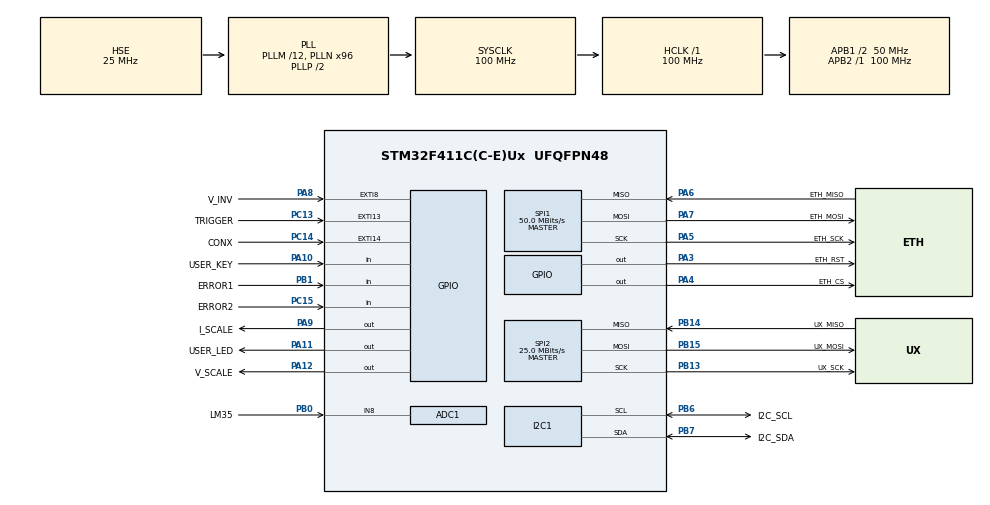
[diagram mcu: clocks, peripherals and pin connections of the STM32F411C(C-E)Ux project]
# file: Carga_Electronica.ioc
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ADC1.Channel-0\#ChannelRegularConversion=ADC_CHANNEL_8
ADC1.ContinuousConvMode=ENABLE
ADC1.NbrOfConversion=1
ADC1.NbrOfConversionFlag=1
ADC1.Rank-0\#ChannelRegularConversion=1
ADC1.SamplingTime-0\#ChannelRegularConversion=ADC_SAMPLETIME_3CYCLES
ADC1.master=1
FREERTOS.Tasks01=defaultTask,-1,128,StartDefaultTask,Default,NULL,Dynamic,NULL,NULL;tarea_cargacont,0,128,tarea_carga_control,Default,NULL,Dynamic,NULL,NULL;tarea_lectura,1,128,lectura_datos,Default,NULL,Dynamic,NULL,NULL
I2C1.I2C_Mode=I2C_Standard
Mcu.Family=STM32F4
Mcu.Name=STM32F411C(C-E)Ux
Mcu.Package=UFQFPN48
NVIC.PriorityGroup=NVIC_PRIORITYGROUP_4
PA10.GPIO_Label=USER_KEY
PA10.Signal=GPIO_Input
PA11.GPIO_Label=USER_LED
PA11.Signal=GPIO_Output
PA12.GPIO_Label=V_SCALE
PA12.Signal=GPIO_Output
PA13.Mode=Serial_Wire
PA13.Signal=SYS_JTMS-SWDIO
PA14.Mode=Serial_Wire
PA14.Signal=SYS_JTCK-SWCLK
PA3.GPIO_Label=ETH_RST
PA3.Signal=GPIO_Output
PA4.GPIO_Label=ETH_CS
PA4.Signal=GPIO_Output
PA5.GPIO_Label=ETH_SCK
PA5.Mode=Full_Duplex_Master
PA5.Signal=SPI1_SCK
PA6.GPIO_Label=ETH_MISO
PA6.Mode=Full_Duplex_Master
PA6.Signal=SPI1_MISO
PA7.GPIO_Label=ETH_MOSI
PA7.Mode=Full_Duplex_Master
PA7.Signal=SPI1_MOSI
PA8.GPIO_Label=V_INV
PA8.Signal=GPXTI8
PA9.GPIO_Label=I_SCALE
PA9.Signal=GPIO_Output
PB0.GPIO_Label=LM35
PB0.Signal=ADCx_IN8
PB1.GPIO_Label=ERROR1
PB1.Signal=GPIO_Input
PB13.GPIO_Label=UX_SCK
PB13.Mode=Full_Duplex_Master
PB13.Signal=SPI2_SCK
PB14.GPIO_Label=UX_MISO
PB14.Mode=Full_Duplex_Master
PB14.Signal=SPI2_MISO
PB15.GPIO_Label=UX_MOSI
PB15.Mode=Full_Duplex_Master
PB15.Signal=SPI2_MOSI
PB6.GPIO_Label=I2C_SCL
PB6.GPIO_Mode=GPIO_MODE_AF_OD
PB6.GPIO_Pu=GPIO_PULLUP
PB6.Mode=I2C
PB6.Signal=I2C1_SCL
PB7.GPIO_Label=I2C_SDA
PB7.GPIO_Mode=GPIO_MODE_AF_OD
PB7.GPIO_Pu=GPIO_PULLUP
PB7.Mode=I2C
PB7.Signal=I2C1_SDA
PC13-ANTI_TAMP.GPIO_Label=TRIGGER
PC13-ANTI_TAMP.Signal=GPXTI13
PC14-OSC32_IN.GPIO_Label=CONX
PC14-OSC32_IN.Signal=GPXTI14
PC15-OSC32_OUT.GPIO_Label=ERROR2
PC15-OSC32_OUT.Signal=GPIO_Input
PH0\ -\ OSC_IN.Mode=HSE-External-Oscillator
PH0\ -\ OSC_IN.Signal=RCC_OSC_IN
PH1\ -\ OSC_OUT.Mode=HSE-External-Oscillator
PH1\ -\ OSC_OUT.Signal=RCC_OSC_OUT
ProjectManager.HeapSize=0x200
ProjectManager.StackSize=0x400
ProjectManager.TargetToolchain=STM32CubeIDE
RCC.48MHZClocksFreq_Value=50000000
RCC.AHBFreq_Value=100000000
RCC.APB1CLKDivider=RCC_HCLK_DIV2
RCC.APB1Freq_Value=50000000
RCC.APB1TimFreq_Value=100000000
RCC.APB2Freq_Value=100000000
RCC.APB2TimFreq_Value=100000000
RCC.CortexFreq_Value=100000000
RCC.HCLKFreq_Value=100000000
RCC.HSE_VALUE=25000000
RCC.HSI_VALUE=16000000
RCC.LSE_VALUE=32768
RCC.PLLM=12
RCC.PLLN=96
RCC.PLLSourceVirtual=RCC_PLLSOURCE_HSE
RCC.SYSCLKFreq_VALUE=100000000
RCC.SYSCLKSource=RCC_SYSCLKSOURCE_PLLCLK
RCC.VCOOutputFreq_Value=200000000
SH.ADCx_IN8.0=ADC1_IN8,IN8
SPI1.BaudRatePrescaler=SPI_BAUDRATEPRESCALER_2
SPI1.CalculateBaudRate=50.0 MBits/s
SPI1.Direction=SPI_DIRECTION_2LINES
SPI1.Mode=SPI_MODE_MASTER
SPI1.VirtualType=VM_MASTER
SPI2.BaudRatePrescaler=SPI_BAUDRATEPRESCALER_2
SPI2.CalculateBaudRate=25.0 MBits/s
SPI2.Direction=SPI_DIRECTION_2LINES
SPI2.Mode=SPI_MODE_MASTER
SPI2.VirtualType=VM_MASTER
VP_FREERTOS_VS_CMSIS_V1.Mode=CMSIS_V1
board=custom

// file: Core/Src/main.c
/* USER CODE BEGIN Header */
/**
  ******************************************************************************
  * @file           : main.c
  * @brief          : Main program body
  ******************************************************************************
  * @attention
  *
  * Copyright (c) 2023 STMicroelectronics.
  * All rights reserved.
  *
  * This software is licensed under terms that can be found in the LICENSE file
  * in the root directory of this software component.
  * If no LICENSE file comes with this software, it is provided AS-IS.
  *
  ******************************************************************************
  */
/* USER CODE END Header */
#include "main.h"
#include "cmsis_os.h"

/* USER CODE BEGIN Includes */
#include "string.h"
#include "adc_function.h"
/* USER CODE END Includes */

/* USER CODE BEGIN PTD */
enum modos {off, corriente_constante, tension_constante, potencia_constante, fusible_electronico};

/* Estructura estado modo de la carga electronica */
//valor para corriente_constante en mA
typedef struct {

	enum modos modo; 				/* Modo de trabajo de la carga electronica */
	float valor;					/* Set point trabajo de la carga electronica */
	float tension;					/* Valor de lectura tension */
	uint8_t escala_tension;		/* 0 Escala 16V / 1 Escala 160V */
	float corriente;				/* Valor de lectura corriente */

} CARGA_HandleTypeDef;

/* USER CODE END PTD */

/* USER CODE BEGIN PD */

//Definiciones DAC - MCP4725
#define MCP4725_ADDR 	0b1100000 << 1
#define MASK_DAC_READ 	0b00001111

//CALIBRACIONES
#define CAL_DAC_VALUE 0
/* USER CODE END PD */

ADC_HandleTypeDef hadc1;

I2C_HandleTypeDef hi2c1;

SPI_HandleTypeDef hspi1;
SPI_HandleTypeDef hspi2;

osThreadId defaultTaskHandle;
osThreadId tarea_cargacontHandle;
osThreadId tarea_lecturaHandle;
/* USER CODE BEGIN PV */
MEASURE_HandleTypeDef hmeasure;

/* Declaracion de colas */
osPoolId mpool1;
osMessageQId QueueCargaControlHandle;

/* USER CODE END PV */

void SystemClock_Config(void);
static void MX_GPIO_Init(void);
static void MX_ADC1_Init(void);
static void MX_I2C1_Init(void);
static void MX_SPI1_Init(void);
static void MX_SPI2_Init(void);
void StartDefaultTask(void const * argument);
void tarea_carga_control(void const * argument);
void lectura_datos(void const * argument);

/* USER CODE BEGIN PFP */
void DAC_init(void);
void DAC_set(float setPoint);
uint16_t Read_ADC(void);

/* USER CODE END PFP */

int main(void)
{

  /* MCU Configuration--------------------------------------------------------*/

  /* Reset of all peripherals, Initializes the Flash interface and the Systick. */
  HAL_Init();

  /* Configure the system clock */
  SystemClock_Config();

  /* Initialize all configured peripherals */
  MX_GPIO_Init();
  MX_ADC1_Init();
  MX_I2C1_Init();
  MX_SPI1_Init();
  MX_SPI2_Init();

  /* USER CODE BEGIN RTOS_QUEUES */
  /* add queues, ... */
  /* definition and creation de Cola Control Carga Electronica */
  osPoolDef(mpool1, 2, CARGA_HandleTypeDef);
  mpool1 = osPoolCreate(osPool(mpool1));
  osMessageQDef(QueueCargaControlHandle, 2, CARGA_HandleTypeDef);
  QueueCargaControlHandle = osMessageCreate(osMessageQ(QueueCargaControlHandle), NULL);
  /* USER CODE END RTOS_QUEUES */

  /* Create the thread(s) */
  /* definition and creation of defaultTask */
  osThreadDef(defaultTask, StartDefaultTask, osPriorityBelowNormal, 0, 128);
  defaultTaskHandle = osThreadCreate(osThread(defaultTask), NULL);

  /* definition and creation of tarea_cargacont */
  osThreadDef(tarea_cargacont, tarea_carga_control, osPriorityNormal, 0, 128);
  tarea_cargacontHandle = osThreadCreate(osThread(tarea_cargacont), NULL);

  /* definition and creation of tarea_lectura */
  osThreadDef(tarea_lectura, lectura_datos, osPriorityAboveNormal, 0, 128);
  tarea_lecturaHandle = osThreadCreate(osThread(tarea_lectura), NULL);

  /* Start scheduler */
  osKernelStart();

  /* We should never get here as control is now taken by the scheduler */
  /* Infinite loop */
  while (1)
  {

  }
}

void SystemClock_Config(void)
{
  RCC_OscInitTypeDef RCC_OscInitStruct = {0};
  RCC_ClkInitTypeDef RCC_ClkInitStruct = {0};

  /** Configure the main internal regulator output voltage
  */
  __HAL_RCC_PWR_CLK_ENABLE();
  __HAL_PWR_VOLTAGESCALING_CONFIG(PWR_REGULATOR_VOLTAGE_SCALE1);

  /** Initializes the RCC Oscillators according to the specified parameters
  * in the RCC_OscInitTypeDef structure.
  */
  RCC_OscInitStruct.OscillatorType = RCC_OSCILLATORTYPE_HSE;
  RCC_OscInitStruct.HSEState = RCC_HSE_ON;
  RCC_OscInitStruct.PLL.PLLState = RCC_PLL_ON;
  RCC_OscInitStruct.PLL.PLLSource = RCC_PLLSOURCE_HSE;
  RCC_OscInitStruct.PLL.PLLM = 12;
  RCC_OscInitStruct.PLL.PLLN = 96;
  RCC_OscInitStruct.PLL.PLLP = RCC_PLLP_DIV2;
  RCC_OscInitStruct.PLL.PLLQ = 4;
  if (HAL_RCC_OscConfig(&RCC_OscInitStruct) != HAL_OK)
  {
    Error_Handler();
  }

  /** Initializes the CPU, AHB and APB buses clocks
  */
  RCC_ClkInitStruct.ClockType = RCC_CLOCKTYPE_HCLK|RCC_CLOCKTYPE_SYSCLK
                              |RCC_CLOCKTYPE_PCLK1|RCC_CLOCKTYPE_PCLK2;
  RCC_ClkInitStruct.SYSCLKSource = RCC_SYSCLKSOURCE_PLLCLK;
  RCC_ClkInitStruct.AHBCLKDivider = RCC_SYSCLK_DIV1;
  RCC_ClkInitStruct.APB1CLKDivider = RCC_HCLK_DIV2;
  RCC_ClkInitStruct.APB2CLKDivider = RCC_HCLK_DIV1;

  if (HAL_RCC_ClockConfig(&RCC_ClkInitStruct, FLASH_LATENCY_3) != HAL_OK)
  {
    Error_Handler();
  }
}

static void MX_ADC1_Init(void)
{

  ADC_ChannelConfTypeDef sConfig = {0};

  /** Configure the global features of the ADC (Clock, Resolution, Data Alignment and number of conversion)
  */
  hadc1.Instance = ADC1;
  hadc1.Init.ClockPrescaler = ADC_CLOCK_SYNC_PCLK_DIV4;
  hadc1.Init.Resolution = ADC_RESOLUTION_12B;
  hadc1.Init.ScanConvMode = DISABLE;
  hadc1.Init.ContinuousConvMode = ENABLE;
  hadc1.Init.DiscontinuousConvMode = DISABLE;
  hadc1.Init.ExternalTrigConvEdge = ADC_EXTERNALTRIGCONVEDGE_NONE;
  hadc1.Init.ExternalTrigConv = ADC_SOFTWARE_START;
  hadc1.Init.DataAlign = ADC_DATAALIGN_RIGHT;
  hadc1.Init.NbrOfConversion = 1;
  hadc1.Init.DMAContinuousRequests = DISABLE;
  hadc1.Init.EOCSelection = ADC_EOC_SINGLE_CONV;
  if (HAL_ADC_Init(&hadc1) != HAL_OK)
  {
    Error_Handler();
  }

  /** Configure for the selected ADC regular channel its corresponding rank in the sequencer and its sample time.
  */
  sConfig.Channel = ADC_CHANNEL_8;
  sConfig.Rank = 1;
  sConfig.SamplingTime = ADC_SAMPLETIME_3CYCLES;
  if (HAL_ADC_ConfigChannel(&hadc1, &sConfig) != HAL_OK)
  {
    Error_Handler();
  }

}

static void MX_I2C1_Init(void)
{

  hi2c1.Instance = I2C1;
  hi2c1.Init.ClockSpeed = 100000;
  hi2c1.Init.DutyCycle = I2C_DUTYCYCLE_2;
  hi2c1.Init.OwnAddress1 = 0;
  hi2c1.Init.AddressingMode = I2C_ADDRESSINGMODE_7BIT;
  hi2c1.Init.DualAddressMode = I2C_DUALADDRESS_DISABLE;
  hi2c1.Init.OwnAddress2 = 0;
  hi2c1.Init.GeneralCallMode = I2C_GENERALCALL_DISABLE;
  hi2c1.Init.NoStretchMode = I2C_NOSTRETCH_DISABLE;
  if (HAL_I2C_Init(&hi2c1) != HAL_OK)
  {
    Error_Handler();
  }

}

static void MX_SPI1_Init(void)
{

  /* SPI1 parameter configuration*/
  hspi1.Instance = SPI1;
  hspi1.Init.Mode = SPI_MODE_MASTER;
  hspi1.Init.Direction = SPI_DIRECTION_2LINES;
  hspi1.Init.DataSize = SPI_DATASIZE_8BIT;
  hspi1.Init.CLKPolarity = SPI_POLARITY_LOW;
  hspi1.Init.CLKPhase = SPI_PHASE_1EDGE;
  hspi1.Init.NSS = SPI_NSS_SOFT;
  hspi1.Init.BaudRatePrescaler = SPI_BAUDRATEPRESCALER_2;
  hspi1.Init.FirstBit = SPI_FIRSTBIT_MSB;
  hspi1.Init.TIMode = SPI_TIMODE_DISABLE;
  hspi1.Init.CRCCalculation = SPI_CRCCALCULATION_DISABLE;
  hspi1.Init.CRCPolynomial = 10;
  if (HAL_SPI_Init(&hspi1) != HAL_OK)
  {
    Error_Handler();
  }

}

static void MX_SPI2_Init(void)
{

  /* SPI2 parameter configuration*/
  hspi2.Instance = SPI2;
  hspi2.Init.Mode = SPI_MODE_MASTER;
  hspi2.Init.Direction = SPI_DIRECTION_2LINES;
  hspi2.Init.DataSize = SPI_DATASIZE_8BIT;
  hspi2.Init.CLKPolarity = SPI_POLARITY_LOW;
  hspi2.Init.CLKPhase = SPI_PHASE_1EDGE;
  hspi2.Init.NSS = SPI_NSS_SOFT;
  hspi2.Init.BaudRatePrescaler = SPI_BAUDRATEPRESCALER_2;
  hspi2.Init.FirstBit = SPI_FIRSTBIT_MSB;
  hspi2.Init.TIMode = SPI_TIMODE_DISABLE;
  hspi2.Init.CRCCalculation = SPI_CRCCALCULATION_DISABLE;
  hspi2.Init.CRCPolynomial = 10;
  if (HAL_SPI_Init(&hspi2) != HAL_OK)
  {
    Error_Handler();
  }

}

static void MX_GPIO_Init(void)
{
  GPIO_InitTypeDef GPIO_InitStruct = {0};

  /* GPIO Ports Clock Enable */
  __HAL_RCC_GPIOC_CLK_ENABLE();
  __HAL_RCC_GPIOH_CLK_ENABLE();
  __HAL_RCC_GPIOA_CLK_ENABLE();
  __HAL_RCC_GPIOB_CLK_ENABLE();

  /*Configure GPIO pin Output Level */
  HAL_GPIO_WritePin(GPIOA, ETH_RST_Pin|ETH_CS_Pin|I_SCALE_Pin|USER_LED_Pin
                          |V_SCALE_Pin, GPIO_PIN_RESET);

  /*Configure GPIO pins : TRIGGER_Pin CONX_Pin */
  GPIO_InitStruct.Pin = TRIGGER_Pin|CONX_Pin;
  GPIO_InitStruct.Mode = GPIO_MODE_IT_RISING;
  GPIO_InitStruct.Pull = GPIO_NOPULL;
  HAL_GPIO_Init(GPIOC, &GPIO_InitStruct);

  /*Configure GPIO pin : ERROR2_Pin */
  GPIO_InitStruct.Pin = ERROR2_Pin;
  GPIO_InitStruct.Mode = GPIO_MODE_INPUT;
  GPIO_InitStruct.Pull = GPIO_NOPULL;
  HAL_GPIO_Init(ERROR2_GPIO_Port, &GPIO_InitStruct);

  /*Configure GPIO pins : ETH_RST_Pin ETH_CS_Pin I_SCALE_Pin USER_LED_Pin
                           V_SCALE_Pin */
  GPIO_InitStruct.Pin = ETH_RST_Pin|ETH_CS_Pin|I_SCALE_Pin|USER_LED_Pin
                          |V_SCALE_Pin;
  GPIO_InitStruct.Mode = GPIO_MODE_OUTPUT_PP;
  GPIO_InitStruct.Pull = GPIO_NOPULL;
  GPIO_InitStruct.Speed = GPIO_SPEED_FREQ_LOW;
  HAL_GPIO_Init(GPIOA, &GPIO_InitStruct);

  /*Configure GPIO pin : ERROR1_Pin */
  GPIO_InitStruct.Pin = ERROR1_Pin;
  GPIO_InitStruct.Mode = GPIO_MODE_INPUT;
  GPIO_InitStruct.Pull = GPIO_NOPULL;
  HAL_GPIO_Init(ERROR1_GPIO_Port, &GPIO_InitStruct);

  /*Configure GPIO pin : V_INV_Pin */
  GPIO_InitStruct.Pin = V_INV_Pin;
  GPIO_InitStruct.Mode = GPIO_MODE_IT_RISING;
  GPIO_InitStruct.Pull = GPIO_NOPULL;
  HAL_GPIO_Init(V_INV_GPIO_Port, &GPIO_InitStruct);

  /*Configure GPIO pin : USER_KEY_Pin */
  GPIO_InitStruct.Pin = USER_KEY_Pin;
  GPIO_InitStruct.Mode = GPIO_MODE_INPUT;
  GPIO_InitStruct.Pull = GPIO_NOPULL;
  HAL_GPIO_Init(USER_KEY_GPIO_Port, &GPIO_InitStruct);

}

/* USER CODE BEGIN 4 */
void DAC_init(void){

	//Leer EEPROM y checkear que este en 0; Sino cambiarlo.
	uint16_t i2cRX;
	uint8_t buffer[5];
	memset(buffer,0,5);
	HAL_I2C_Master_Transmit(&hi2c1,MCP4725_ADDR, buffer, 2,HAL_MAX_DELAY);
	HAL_I2C_Master_Receive(&hi2c1, MCP4725_ADDR, buffer, 5,HAL_MAX_DELAY);

	//Cargo el valor recibido del buffer a una variable para tener el valor de la eeprom.
	i2cRX = (buffer[3]<<8) || buffer[4];
	i2cRX &= MASK_DAC_READ;

	//Si el valor de la eeprom no es 0 lo cargo.
	if(i2cRX){
		buffer[0]=0b01100000;
		buffer[1]=0;
		buffer[2]=0;
		HAL_I2C_Master_Transmit(&hi2c1, MCP4725_ADDR, buffer, 3,HAL_MAX_DELAY);
		do{
			i2cRX = HAL_I2C_Master_Receive(&hi2c1, MCP4725_ADDR, buffer, 1,HAL_MAX_DELAY) && 0b10000000;
		}while(!i2cRX);
	}else{
		//Reset
		buffer[0]=0;
		buffer[1]=0;
		HAL_I2C_Master_Transmit(&hi2c1, MCP4725_ADDR, buffer, 2,HAL_MAX_DELAY);
	}
}

void DAC_set(float setPoint){	//setPoint = valor en mV.
	uint8_t buffer[2];

	if(setPoint<0 || setPoint>=5000)
		return HAL_I2C_Master_Transmit(&hi2c1, MCP4725_ADDR, 0, 2,HAL_MAX_DELAY);

	setPoint=((setPoint+CAL_DAC_VALUE)*4096)/5000;
	buffer[0]=((uint16_t) setPoint)>>8;
	buffer[1]=((uint16_t) setPoint);
	HAL_I2C_Master_Transmit(&hi2c1, MCP4725_ADDR, buffer, 2,HAL_MAX_DELAY);
}

uint16_t Read_ADC(void) {
    uint16_t adc_value = 0;
    // Iniciar la conversión
    HAL_ADC_Start(&hadc1);

    // Esperar a que la conversión se complete
    if (HAL_ADC_PollForConversion(&hadc1, 10) == HAL_OK) { // Timeout de 10ms
        // Leer el valor convertido
        adc_value = HAL_ADC_GetValue(&hadc1);
    }

    // Detener el ADC después de la lectura
    HAL_ADC_Stop(&hadc1);

    return adc_value;
}

/* USER CODE END 4 */

void StartDefaultTask(void const * argument)
{
  for(;;)
  {
  }
}

void tarea_carga_control(void const * argument)
{
	/* USER CODE BEGIN tarea_carga_control */
	CARGA_HandleTypeDef *ptr;
	osEvent evt;

	CARGA_HandleTypeDef control_carga;
	control_carga.modo = corriente_constante;
	control_carga.valor = 1000;

	DAC_init();

	/* Infinite loop */
	for(;;)
	{/*
	evt = osMessageGet(QueueCargaControlHandle, osWaitForever);
	if(evt.status == osEventMessage){
		ptr = evt.value.p;
		osPoolFree(mpool1, ptr);
	}
	 */

		//En base al modo decido:
		switch (control_carga.modo)
		{
		case corriente_constante:
			DAC_set(control_carga.valor/10); //Ajusto de mA -->mV para el DAC
			break;

		case tension_constante:
			break;

		case potencia_constante:
			break;

		case fusible_electronico:
			break;

		case off:
			break;

		default:
			break;
		}

	}
  /* USER CODE END tarea_carga_control */
}

void lectura_datos(void const * argument)
{
	/* USER CODE BEGIN lectura_datos */
	//Inicializo estructura medicion
	hmeasure.input = CORRIENTE;
	hmeasure.pga = FSR6144;
	hmeasure.ratio = SPS860;
	float medicion = 0;

	/* Infinite loop */
	for(;;)
	{
		medicion = ADC_read_corriente(&hi2c1, &hmeasure);
		osDelay(1000);
	}
	/* USER CODE END lectura_datos */
}

void Error_Handler(void)
{
  __disable_irq();
  while (1)
  {
  }
}
